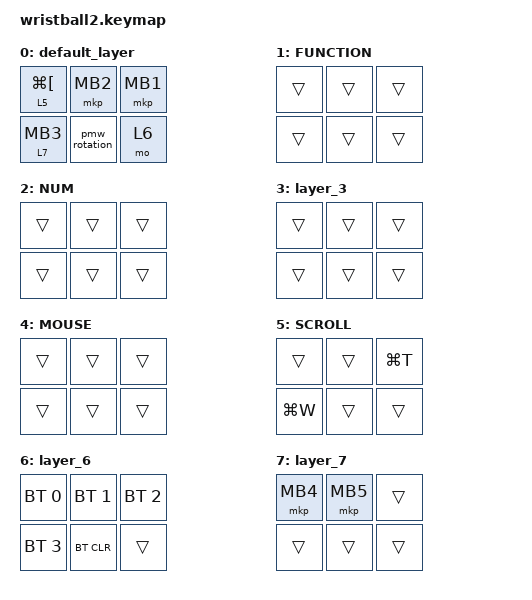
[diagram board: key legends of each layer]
#include <behaviors/rgbled_widget.dtsi>
#include <behaviors.dtsi>
#include <dt-bindings/zmk/bt.h>
#include <dt-bindings/zmk/keys.h>
#include <dt-bindings/zmk/pointing.h>

&mt {
    flavor = "balanced";
    quick-tap-ms = <0>;
};

&trackball {
    // automouse-layer = <1>;

    scroll-layers = <5>;

    // arrows {
    //     layers = <3>;
    //     bindings =
    //         <&kp RIGHT_ARROW>,
    //         <&kp LEFT_ARROW>,
    //         <&kp UP_ARROW>,
    //         <&kp DOWN_ARROW>;
    //     tick = <10>;
    //     wait-ms = <5>;
    //     tap-ms = <5>;
    // };
};

/ {
    behaviors {
        pmw_rotation: pmw_rotation {
            compatible = "zmk,behavior-pmw-rotation";
            #binding-cells = <0>;
        };
    };

    combos {
        compatible = "zmk,combos";

        tab {
            bindings = <&kp TAB>;
            key-positions = <11 12>;
        };

        shift_tab {
            bindings = <&kp LS(TAB)>;
            key-positions = <12 13>;
        };

        muhennkann {
            bindings = <&to_layer_0 INT_MUHENKAN>;
            key-positions = <11 10>;
        };

        double_quotation {
            bindings = <&kp DOUBLE_QUOTES>;
            key-positions = <20 21>;
        };

        eq {
            bindings = <&kp EQUAL>;
            key-positions = <24 25>;
        };

        drag {
            bindings = <&kp LS(LC(D))>;
            key-positions = <1 2>;
        };
    };

    macros {
        to_layer_0: to_layer_0 {
            compatible = "zmk,behavior-macro-one-param";
            #binding-cells = <1>;
            bindings = <&to 0 &macro_param_1to1 &kp MACRO_PLACEHOLDER>;
            label = "TO_LAYER_0";
        };
    };

    behaviors {
        lt_to_layer_0: lt_to_layer_0 {
            compatible = "zmk,behavior-hold-tap";
            label = "LAYER_TAP_TO_0";
            bindings = <&mo>, <&to_layer_0>;

            #binding-cells = <2>;
            tapping-term-ms = <200>;
        };

        mo_mkp: mo_mkp {
            compatible = "zmk,behavior-hold-tap";
            label = "MO_MKP";
            bindings = <&mo>, <&mkp>;

            #binding-cells = <2>;
            tapping-term-ms = <200>;
            quick-tap-ms = <200>;
            require-prior-idle-ms = <125>;
            flavor = "tap-preferred";
        };
    };

    keymap {
        compatible = "zmk,keymap";

        default_layer {
            bindings = <
&lt 5 LG(LEFT_BRACKET)  &mkp MB2       &mkp MB1
&mo_mkp 7 MB3           &pmw_rotation  &mo 6
            >;
        };

        FUNCTION {
            bindings = <
&trans  &trans  &trans
&trans  &trans  &trans
            >;
        };

        NUM {
            bindings = <
&trans  &trans  &trans
&trans  &trans  &trans
            >;
        };

        layer_3 {
            bindings = <
&trans  &trans  &trans
&trans  &trans  &trans
            >;
        };

        MOUSE {
            bindings = <
&trans  &trans  &trans
&trans  &trans  &trans
            >;
        };

        SCROLL {
            bindings = <
&trans     &trans  &kp LG(T)
&kp LG(W)  &trans  &trans
            >;
        };

        layer_6 {
            bindings = <
&bt BT_SEL 0  &bt BT_SEL 1  &bt BT_SEL 2
&bt BT_SEL 3  &bt BT_CLR    &trans
            >;
        };

        layer_7 {
            bindings = <
&mkp MB4  &mkp MB5  &trans
&trans    &trans    &trans
            >;
        };
    };
};
